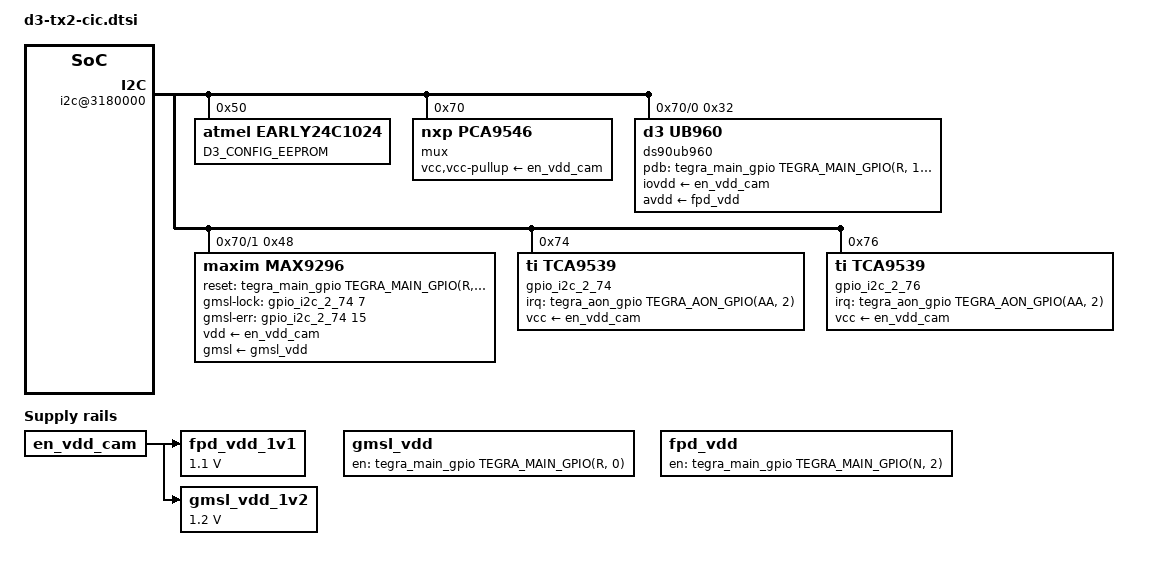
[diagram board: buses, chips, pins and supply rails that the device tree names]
/*
 * d3-tx2-cic.dtsi D3 Engineering Camera Interface Card
 * Designed for use with an Nvidia Jetson TX2
 *
 * Copyright (c) 2018-2019, D3 Engineering.  All rights reserved.
 *
 * This program is free software; you can redistribute it and/or modify
 * it under the terms of the GNU General Public License as published by
 * the Free Software Foundation; version 2 of the License.
 *
 * This program is distributed in the hope that it will be useful, but WITHOUT
 * ANY WARRANTY; without even the implied warranty of MERCHANTABILITY or
 * FITNESS FOR A PARTICULAR PURPOSE.  See the GNU General Public License for
 * more details.
 */

#include "tegra186-quill-p3310-1000-a00-00-base.dts"
#define D3_BOARD_TX2_CIC
#define TX2_CIC
#define D3_CONFIG_EEPROM d3_cic_eeprom

/ {
        nvidia,dtsfilename = __FILE__;
        nvidia,dtbbuildtime = __DATE__, __TIME__;

	/* I2C_CAM, DT alias: i2c2 (clock: C6, data: D6) */
        i2c@3180000 {

		/* Microchip 24AA1026 (U28) */
		D3_CONFIG_EEPROM: eeprom@50 {
			status = "okay";
			compatible = "atmel,early24c1024";
				/* "early" so the driver will be loaded by
				 * early-at24, in time to be used by
				 * config-eeprom. */
			reg = <0x50>;
			pagesize = <128>;

		};

		/* I2C MUX: TCA9546 (U27) */
		mux@70 {
			status = "okay";
			compatible = "nxp,pca9546";
			reg = <0x70>;
			#address-cells = <1>;
			#size-cells = <0>;
			vcc-supply = <&en_vdd_cam>;
			vcc-pullup-supply = <&en_vdd_cam>;

			i2c_fpdlink: i2c@0 {
				status = "okay";
				reg = <0>;
				#address-cells = <1>;
				#size-cells = <0>;
				i2c-mux,deselect-on-exit;

				/*  DS90UB960 Deserializer (U1) */
				ds90ub960: ub960@32 {
					status = "okay";
					compatible = "d3,ub960";
					reg = <0x32>;
					#address-cells = <1>;
					#size-cells = <0>;
					iovdd-supply = <&en_vdd_cam>;
					avdd-supply = <&fpd_vdd>;
					pdb-gpios = <&tegra_main_gpio TEGRA_MAIN_GPIO(R, 1) GPIO_ACTIVE_LOW>;
					/* Valid values are: 1600, 1200, 800, 400 NOTE
					 * that 1600 is dependent upon REFCLK. For a 25Mhz
					 * REFCLK the speed is 1600, for 23 Mhz is it
					 * 1472, for for 26Mhz it is 1664
					 *
					 * If this is not present 1600* is used
					 */
					csi-tx-speed-mbps = <1600>;
					/* 1,2,3, or 4 */
					csi-lane-count = <4>;

					/* 0, or 1 */
					csi-continuous-clock = <1>;

					ds90ub960_link0: link@0 {
						status = "okay";
						reg = <0>;
						#address-cells = <1>;
						#size-cells = <0>;
					};

					ds90ub960_link1: link@1 {
						status = "okay";
						reg = <1>;
						#address-cells = <1>;
						#size-cells = <0>;
					};

					ds90ub960_link2: link@2 {
						status = "okay";
						reg = <2>;
						#address-cells = <1>;
						#size-cells = <0>;
					};

					ds90ub960_link3: link@3 {
						status = "okay";
						reg = <3>;
						#address-cells = <1>;
						#size-cells = <0>;
					};
				};
			};

			i2c_gmsl: i2c@1 {
				status = "okay";
				reg = <1>;
				#address-cells = <1>;
				#size-cells = <0>;
				i2c-mux,deselect-on-exit;

				/* MAX929 Deserializer (U2) */
				max9296: max9296@48 {
					status = "okay";
					compatible = "maxim,max9296";
					reg = <0x48>;
					#address-cells = <1>;
					#size-cells = <0>;
					vdd-supply = <&en_vdd_cam>;
					gmsl-supply = <&gmsl_vdd>;
					reset-gpios = <&tegra_main_gpio TEGRA_MAIN_GPIO(R, 5) GPIO_ACTIVE_LOW>;
					gmsl-lock-gpios = <&gpio_i2c_2_74 7 GPIO_ACTIVE_HIGH>;
					gmsl-err-gpios = <&gpio_i2c_2_74 15 GPIO_ACTIVE_HIGH>;
					csi-tx-speed-mbps = <1600>;
					csi-lane-count = <4>;
					csi-continuous-clock = <1>;

					max9296_link0: link@0 {
						reg = <0>;
						#address-cells = <1>;
						#size-cells = <0>;
					};

					max9296_link1: link@1 {
						reg = <1>;
						#address-cells = <1>;
						#size-cells = <0>;
					};
				};
			};

			/* Bus 2 is not used */
			i2c_exp: i2c@2 {
				status = "okay";
				reg = <2>;
				#address-cells = <1>;
				#size-cells = <0>;
				i2c-mux,deselect-on-exit;
			};

			/* Bus 3 is not used */
			i2c_test: i2c@3 {
				status = "okay";
				reg = <3>;
				#address-cells = <1>;
				#size-cells = <0>;
				i2c-mux,deselect-on-exit;
			};
		};

		/* I2C GPIO expander TCA9539 (U29) */
		gpio_i2c_2_74: gpio@74 {
			status = "okay";
			compatible = "ti,tca9539";
			reg = <0x74>;
			#gpio-cells = <2>;
			gpio-controller;
			vcc-supply = <&en_vdd_cam>;
			interrupt-controller;
			interrupt-parent = <&tegra_aon_gpio>;
			interrupts = <TEGRA_AON_GPIO(AA, 2) IRQ_TYPE_EDGE_BOTH>;
		};

		/* I2C GPIO expander TCA9539 (U31) */
		gpio_i2c_2_76: gpio@76 {
			status = "okay";
			compatible = "ti,tca9539";
			reg = <0x76>;
			#gpio-cells = <2>;
			gpio-controller;
			vcc-supply = <&en_vdd_cam>;
			interrupt-controller;
			interrupt-parent = <&tegra_aon_gpio>;
			interrupts = <TEGRA_AON_GPIO(AA, 2) IRQ_TYPE_EDGE_BOTH>;
		};
	};

	fixed-regulators {
		/* 1.1V regulator (U5) */
		fpd_vdd_1v1: regulator@300 {
			status = "okay";
			reg = <0x12c>;
			regulator-name = "fpd-1v1";
			compatible = "regulator-fixed";
			regulator-always-on;
				/* EN pulled to VDD_1V8_SLP from SOM to CIC */
			regulator-min-microvolt = <1100000>;
			regulator-max-microvolt = <1100000>;
			vin-supply = <&en_vdd_cam>;
		};
		/* 1.2V regulator (U20) */
		gmsl_vdd_1v2: regulator@301 {
			status = "okay";
			reg = <0x12d>;
			regulator-name = "gmsl-1v2";
			compatible = "regulator-fixed";
			regulator-always-on;
				/* EN pulled to VDD_1V8_SLP from SOM to CIC */
			regulator-min-microvolt = <1200000>;
			regulator-max-microvolt = <1200000>;
			vin-supply = <&en_vdd_cam>;
		};
		/* GMSL regulator (U30) */
		/* Controlled by the Camera Connector Pin 93 */
		gmsl_vdd: regulator@302 {
			status = "okay";
			reg = <0x12e>;
			regulator-name = "gmsl_vdd";
			compatible = "regulator-fixed";
			gpio = <&tegra_main_gpio TEGRA_MAIN_GPIO(R, 0) GPIO_ACTIVE_LOW>;
			enable-active-high;
		};
		/* FPD-Link regulator (U21) */
		/* Controlled by the Camera Connector Pin 90 */
		fpd_vdd: regulator@303 {
			status = "okay";
			reg = <0x12f>;
			regulator-name = "fpd_vdd";
			compatible = "regulator-fixed";
			gpio = <&tegra_main_gpio TEGRA_MAIN_GPIO(N, 2) GPIO_ACTIVE_LOW>;
			enable-active-high;
		};
	};

	host1x {
		vi@15700000 {
			num-channels = <6>;
			vi_ports: ports {
				#address-cells = <1>;
				#size-cells = <0>;
				/* ports will be included here */
			};
		};

		nvcsi@150c0000 {
			num-channels = <6>;
			/* channels will be included here */
		};
	};

	tegra-camera-platform {
		num_csi_lanes = <8>;
		max_lane_speed = <1500000>;
	};
};

#include "d3-cic-cam0-3.dtsi"
#include "d3-cic-cam4.dtsi"

#include "d3-config-eeprom.dtsi"
